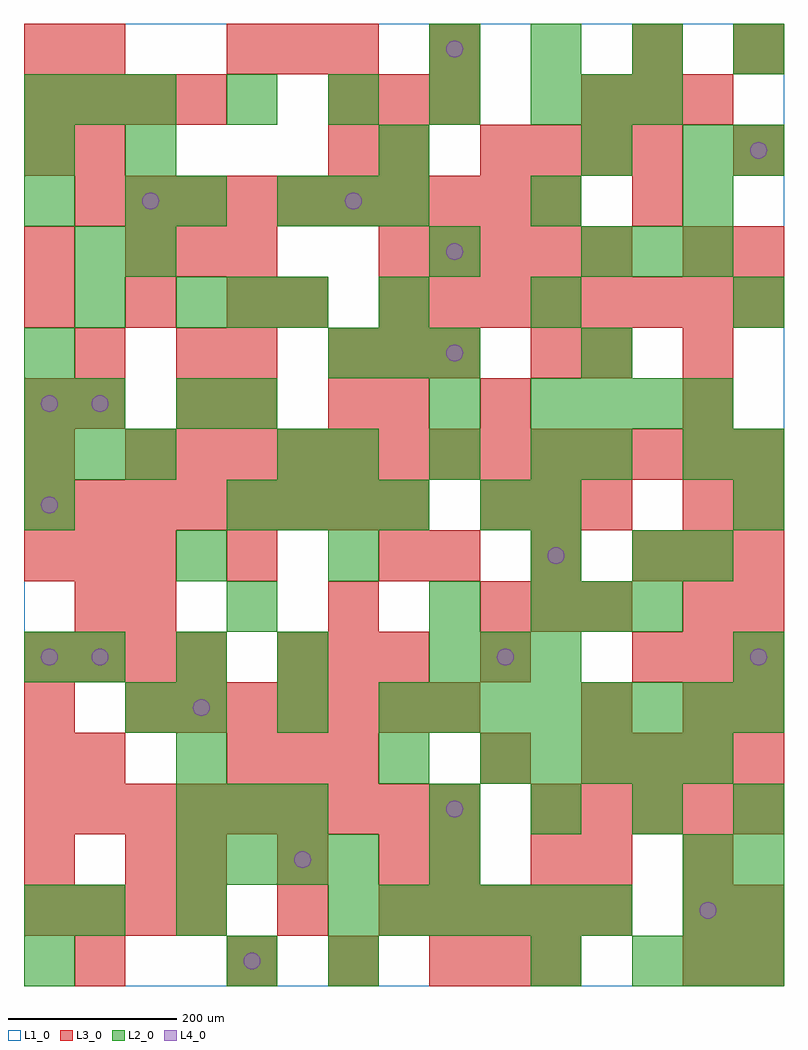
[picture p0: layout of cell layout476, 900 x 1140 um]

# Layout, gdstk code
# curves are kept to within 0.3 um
import gdstk
lib = gdstk.Library(unit=1e-6, precision=1e-09)
def R(c, l, rs):  # rectangles x0, y0, x1, y1
    for r in rs: c.add(gdstk.rectangle(r[:2], r[2:], *l))
def A(c, l, x, y, w, h, nx, ny, dx, dy):  # array of equal rectangles
    R(c, l, [(x+i*dx, y+j*dy, x+i*dx+w, y+j*dy+h) for i in range(nx) for j in range(ny)])
def P(c, l, *ps):  # polygons
    for p in ps: c.add(gdstk.Polygon(p, *l))
L1_0 = (1, 0)
L2_0 = (2, 0)
L3_0 = (3, 0)
L4_0 = (4, 0)

layout476 = lib.new_cell('layout476')
R(layout476, L1_0, [(0,0,900,1140)])
A(layout476, L2_0, 720, 0, 60, 60, 3, 1, 60, 0)
A(layout476, L2_0, 360, 60, 60, 60, 6, 1, 60, 0)
A(layout476, L2_0, 180, 120, 60, 60, 4, 1, 60, 0)
A(layout476, L2_0, 180, 180, 60, 60, 3, 2, 60, 600)
A(layout476, L2_0, 480, 180, 60, 60, 4, 2, 120, 900)
A(layout476, L2_0, 540, 240, 60, 60, 5, 1, 60, 0)
A(layout476, L2_0, 180, 300, 60, 60, 3, 1, 120, 0)
A(layout476, L2_0, 480, 300, 60, 60, 7, 1, 60, 0)
A(layout476, L2_0, 60, 360, 60, 60, 3, 1, 120, 0)
A(layout476, L2_0, 480, 360, 60, 60, 3, 1, 60, 0)
A(layout476, L2_0, 600, 420, 60, 60, 3, 1, 60, 0)
A(layout476, L2_0, 240, 540, 60, 60, 4, 1, 60, 0)
A(layout476, L2_0, 0, 600, 60, 60, 3, 2, 60, 420)
A(layout476, L2_0, 360, 600, 60, 60, 3, 1, 120, 0)
A(layout476, L2_0, 840, 600, 60, 60, 1, 3, 0, 180)
A(layout476, L2_0, 600, 660, 60, 60, 4, 1, 60, 0)
A(layout476, L2_0, 360, 720, 60, 60, 3, 1, 60, 0)
A(layout476, L2_0, 120, 840, 60, 60, 1, 3, 0, 60)
A(layout476, L2_0, 660, 840, 60, 60, 3, 1, 60, 0)
A(layout476, L2_0, 300, 900, 60, 60, 3, 1, 60, 0)
A(layout476, L2_0, 240, 1020, 60, 60, 4, 1, 120, 0)
R(layout476, L2_0, [(0,0,60,60), (240,0,300,60), (360,0,420,60), (600,0,660,60), (0,60,60,120), (60,60,120,120), (180,60,240,120), (780,60,840,120), (840,60,900,120), (480,120,540,180), (780,120,840,180), (840,120,900,180), (180,240,240,300), (420,240,480,300), (120,300,180,360), (0,360,60,420), (840,360,900,420), (240,420,300,480), (480,420,540,480), (180,480,240,540), (360,480,420,540), (600,480,660,540), (720,480,780,540), (780,480,840,540), (0,540,60,600), (540,540,600,600), (600,540,660,600), (840,540,900,600), (300,600,360,660), (660,600,720,660), (780,600,840,660), (0,660,60,720), (60,660,120,720), (180,660,240,720), (240,660,300,720), (480,660,540,720), (0,720,60,780), (660,720,720,780), (60,780,120,840), (420,780,480,840), (600,780,660,840), (60,840,120,900), (480,840,540,900), (0,900,60,960), (180,900,240,960), (600,900,660,960), (780,900,840,960), (0,960,60,1020), (420,960,480,1020), (660,960,720,1020), (780,960,840,1020), (660,1020,720,1080), (720,1020,780,1080)])
A(layout476, L3_0, 240, 0, 60, 60, 3, 1, 120, 0)
A(layout476, L3_0, 780, 0, 60, 60, 1, 3, 0, 60)
A(layout476, L3_0, 0, 60, 60, 60, 4, 2, 60, 300)
A(layout476, L3_0, 420, 60, 60, 60, 5, 2, 60, 780)
A(layout476, L3_0, 180, 120, 60, 60, 3, 1, 120, 0)
A(layout476, L3_0, 0, 180, 60, 60, 9, 1, 60, 0)
A(layout476, L3_0, 600, 180, 60, 60, 5, 1, 60, 0)
A(layout476, L3_0, 240, 240, 60, 60, 3, 2, 60, 840)
A(layout476, L3_0, 660, 240, 60, 60, 4, 1, 60, 0)
A(layout476, L3_0, 120, 300, 60, 60, 7, 1, 60, 0)
A(layout476, L3_0, 300, 360, 60, 60, 3, 1, 60, 0)
A(layout476, L3_0, 720, 360, 60, 60, 3, 1, 60, 0)
A(layout476, L3_0, 540, 420, 60, 60, 3, 2, 60, 120)
A(layout476, L3_0, 780, 420, 60, 60, 1, 3, 0, 60)
A(layout476, L3_0, 840, 420, 60, 60, 1, 3, 0, 60)
A(layout476, L3_0, 0, 480, 60, 60, 3, 1, 60, 0)
A(layout476, L3_0, 480, 480, 60, 60, 3, 1, 120, 0)
A(layout476, L3_0, 0, 540, 60, 60, 8, 1, 60, 0)
A(layout476, L3_0, 120, 600, 60, 60, 13, 1, 60, 0)
A(layout476, L3_0, 360, 720, 60, 60, 3, 2, 60, 300)
A(layout476, L3_0, 0, 780, 60, 60, 3, 1, 120, 0)
A(layout476, L3_0, 420, 780, 60, 60, 8, 1, 60, 0)
A(layout476, L3_0, 0, 840, 60, 60, 1, 3, 0, 120)
A(layout476, L3_0, 120, 840, 60, 60, 3, 1, 60, 0)
A(layout476, L3_0, 840, 840, 60, 60, 1, 3, 0, 120)
A(layout476, L3_0, 60, 900, 60, 60, 10, 1, 60, 0)
A(layout476, L3_0, 540, 960, 60, 60, 4, 1, 60, 0)
A(layout476, L3_0, 0, 1020, 60, 60, 4, 1, 60, 0)
A(layout476, L3_0, 660, 1020, 60, 60, 3, 1, 60, 0)
R(layout476, L3_0, [(60,0,120,60), (540,0,600,60), (600,0,660,60), (840,0,900,60), (300,60,360,120), (840,60,900,120), (0,120,60,180), (120,120,180,180), (480,120,540,180), (600,120,660,180), (660,120,720,180), (0,240,60,300), (60,240,120,300), (540,240,600,300), (0,300,60,360), (660,300,720,360), (780,300,840,360), (840,300,900,360), (540,360,600,420), (60,420,120,480), (120,420,180,480), (360,420,420,480), (240,480,300,540), (420,480,480,540), (0,600,60,660), (0,660,60,720), (60,660,120,720), (180,660,240,720), (240,660,300,720), (360,660,420,720), (420,660,480,720), (540,660,600,720), (780,660,840,720), (60,720,120,780), (180,720,240,780), (240,720,300,780), (600,720,660,780), (660,720,720,780), (780,720,840,780), (300,780,360,840), (780,840,840,900), (720,900,780,960), (60,960,120,1020), (360,960,420,1020), (420,960,480,1020), (60,1080,120,1140), (480,1080,540,1140), (720,1080,780,1140)])
P(layout476, L4_0, [(40,390),(39.239,393.827),(37.071,397.071),(33.827,399.239),(30,400),(26.173,399.239),(22.929,397.071),(20.761,393.827),(20,390),(20.761,386.173),(22.929,382.929),(26.173,380.761),(30,380),(33.827,380.761),(37.071,382.929),(39.239,386.173)],
  [(40,570),(39.239,573.827),(37.071,577.071),(33.827,579.239),(30,580),(26.173,579.239),(22.929,577.071),(20.761,573.827),(20,570),(20.761,566.173),(22.929,562.929),(26.173,560.761),(30,560),(33.827,560.761),(37.071,562.929),(39.239,566.173)],
  [(40,690),(39.239,693.827),(37.071,697.071),(33.827,699.239),(30,700),(26.173,699.239),(22.929,697.071),(20.761,693.827),(20,690),(20.761,686.173),(22.929,682.929),(26.173,680.761),(30,680),(33.827,680.761),(37.071,682.929),(39.239,686.173)],
  [(100,390),(99.239,393.827),(97.071,397.071),(93.827,399.239),(90,400),(86.173,399.239),(82.929,397.071),(80.761,393.827),(80,390),(80.761,386.173),(82.929,382.929),(86.173,380.761),(90,380),(93.827,380.761),(97.071,382.929),(99.239,386.173)],
  [(100,690),(99.239,693.827),(97.071,697.071),(93.827,699.239),(90,700),(86.173,699.239),(82.929,697.071),(80.761,693.827),(80,690),(80.761,686.173),(82.929,682.929),(86.173,680.761),(90,680),(93.827,680.761),(97.071,682.929),(99.239,686.173)],
  [(160,930),(159.239,933.827),(157.071,937.071),(153.827,939.239),(150,940),(146.173,939.239),(142.929,937.071),(140.761,933.827),(140,930),(140.761,926.173),(142.929,922.929),(146.173,920.761),(150,920),(153.827,920.761),(157.071,922.929),(159.239,926.173)],
  [(220,330),(219.239,333.827),(217.071,337.071),(213.827,339.239),(210,340),(206.173,339.239),(202.929,337.071),(200.761,333.827),(200,330),(200.761,326.173),(202.929,322.929),(206.173,320.761),(210,320),(213.827,320.761),(217.071,322.929),(219.239,326.173)],
  [(280,30),(279.239,33.827),(277.071,37.071),(273.827,39.239),(270,40),(266.173,39.239),(262.929,37.071),(260.761,33.827),(260,30),(260.761,26.173),(262.929,22.929),(266.173,20.761),(270,20),(273.827,20.761),(277.071,22.929),(279.239,26.173)],
  [(340,150),(339.239,153.827),(337.071,157.071),(333.827,159.239),(330,160),(326.173,159.239),(322.929,157.071),(320.761,153.827),(320,150),(320.761,146.173),(322.929,142.929),(326.173,140.761),(330,140),(333.827,140.761),(337.071,142.929),(339.239,146.173)],
  [(400,930),(399.239,933.827),(397.071,937.071),(393.827,939.239),(390,940),(386.173,939.239),(382.929,937.071),(380.761,933.827),(380,930),(380.761,926.173),(382.929,922.929),(386.173,920.761),(390,920),(393.827,920.761),(397.071,922.929),(399.239,926.173)],
  [(520,210),(519.239,213.827),(517.071,217.071),(513.827,219.239),(510,220),(506.173,219.239),(502.929,217.071),(500.761,213.827),(500,210),(500.761,206.173),(502.929,202.929),(506.173,200.761),(510,200),(513.827,200.761),(517.071,202.929),(519.239,206.173)],
  [(520,750),(519.239,753.827),(517.071,757.071),(513.827,759.239),(510,760),(506.173,759.239),(502.929,757.071),(500.761,753.827),(500,750),(500.761,746.173),(502.929,742.929),(506.173,740.761),(510,740),(513.827,740.761),(517.071,742.929),(519.239,746.173)],
  [(520,870),(519.239,873.827),(517.071,877.071),(513.827,879.239),(510,880),(506.173,879.239),(502.929,877.071),(500.761,873.827),(500,870),(500.761,866.173),(502.929,862.929),(506.173,860.761),(510,860),(513.827,860.761),(517.071,862.929),(519.239,866.173)],
  [(520,1110),(519.239,1113.827),(517.071,1117.071),(513.827,1119.239),(510,1120),(506.173,1119.239),(502.929,1117.071),(500.761,1113.827),(500,1110),(500.761,1106.173),(502.929,1102.929),(506.173,1100.761),(510,1100),(513.827,1100.761),(517.071,1102.929),(519.239,1106.173)],
  [(580,390),(579.239,393.827),(577.071,397.071),(573.827,399.239),(570,400),(566.173,399.239),(562.929,397.071),(560.761,393.827),(560,390),(560.761,386.173),(562.929,382.929),(566.173,380.761),(570,380),(573.827,380.761),(577.071,382.929),(579.239,386.173)],
  [(640,510),(639.239,513.827),(637.071,517.071),(633.827,519.239),(630,520),(626.173,519.239),(622.929,517.071),(620.761,513.827),(620,510),(620.761,506.173),(622.929,502.929),(626.173,500.761),(630,500),(633.827,500.761),(637.071,502.929),(639.239,506.173)],
  [(820,90),(819.239,93.827),(817.071,97.071),(813.827,99.239),(810,100),(806.173,99.239),(802.929,97.071),(800.761,93.827),(800,90),(800.761,86.173),(802.929,82.929),(806.173,80.761),(810,80),(813.827,80.761),(817.071,82.929),(819.239,86.173)],
  [(880,390),(879.239,393.827),(877.071,397.071),(873.827,399.239),(870,400),(866.173,399.239),(862.929,397.071),(860.761,393.827),(860,390),(860.761,386.173),(862.929,382.929),(866.173,380.761),(870,380),(873.827,380.761),(877.071,382.929),(879.239,386.173)],
  [(880,990),(879.239,993.827),(877.071,997.071),(873.827,999.239),(870,1000),(866.173,999.239),(862.929,997.071),(860.761,993.827),(860,990),(860.761,986.173),(862.929,982.929),(866.173,980.761),(870,980),(873.827,980.761),(877.071,982.929),(879.239,986.173)])

lib.write_gds('layout476.gds')
